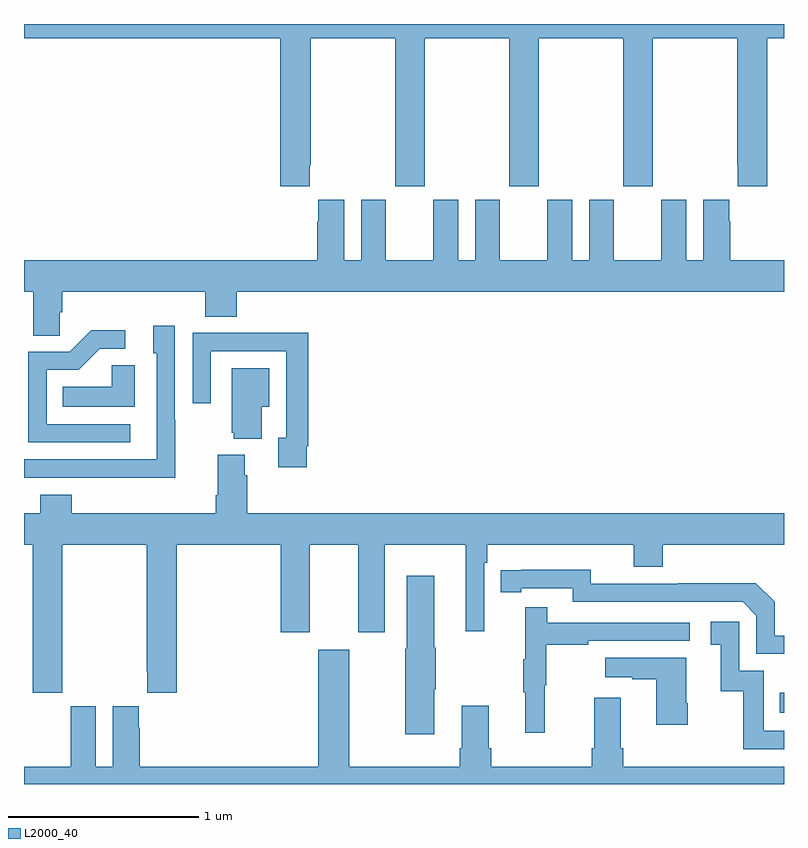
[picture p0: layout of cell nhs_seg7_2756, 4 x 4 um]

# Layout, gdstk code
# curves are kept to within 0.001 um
import gdstk
lib = gdstk.Library(unit=1e-6, precision=1e-09)
def R(c, l, rs):  # rectangles x0, y0, x1, y1
    for r in rs: c.add(gdstk.rectangle(r[:2], r[2:], *l))
def P(c, l, *ps):  # polygons
    for p in ps: c.add(gdstk.Polygon(p, *l))
L2000_40 = (2000, 40)

nhs_seg7_2756 = lib.new_cell('nhs_seg7_2756')
R(nhs_seg7_2756, L2000_40, [(292.978,1022.376,293,1022.481)])
P(nhs_seg7_2756, L2000_40, [(290.503,1025.257),(290.508,1025.257),(290.508,1025.924),(290.953,1025.924),(290.953,1025.145),(291.108,1025.145),(291.108,1025.924),(291.553,1025.924),(291.553,1025.145),(291.708,1025.145),(291.708,1025.924),(292.153,1025.924),(292.153,1025.145),(292.308,1025.145),(292.308,1025.924),(292.753,1025.924),(292.753,1025.257),(292.757,1025.257),(292.757,1025.145),(292.913,1025.145),(292.913,1025.924),(293,1025.924),(293,1026),(289,1026),(289,1025.924),(290.348,1025.924),(290.348,1025.145),(290.503,1025.145)],
  [(289.188,1024.483),(289.202,1024.483),(289.202,1024.592),(289.955,1024.592),(289.955,1024.459),(290.12,1024.459),(290.12,1024.592),(293,1024.592),(293,1024.756),(292.718,1024.756),(292.718,1024.961),(292.711,1024.961),(292.711,1025.074),(292.574,1025.074),(292.574,1024.756),(292.486,1024.756),(292.486,1025.074),(292.355,1025.074),(292.355,1024.756),(292.105,1024.756),(292.105,1025.074),(291.974,1025.074),(291.974,1024.756),(291.886,1024.756),(291.886,1025.074),(291.755,1025.074),(291.755,1024.756),(291.505,1024.756),(291.505,1025.074),(291.374,1025.074),(291.374,1024.756),(291.286,1024.756),(291.286,1025.074),(291.155,1025.074),(291.155,1024.756),(290.905,1024.756),(290.905,1025.074),(290.774,1025.074),(290.774,1024.756),(290.686,1024.756),(290.686,1025.074),(290.549,1025.074),(290.549,1024.961),(290.543,1024.961),(290.543,1024.756),(289,1024.756),(289,1024.592),(289.049,1024.592),(289.049,1024.36),(289.188,1024.36)],
  [(289.797,1023.917),(289.794,1023.917),(289.794,1024.411),(289.679,1024.411),(289.679,1024.266),(289.698,1024.266),(289.698,1023.708),(289,1023.708),(289,1023.612),(289.333,1023.612),(289.333,1023.611),(289.797,1023.611)],
  [(289.558,1023.894),(289.119,1023.894),(289.119,1024.179),(289.288,1024.179),(289.399,1024.29),(289.534,1024.29),(289.534,1024.388),(289.355,1024.388),(289.242,1024.275),(289.023,1024.275),(289.023,1023.798),(289.558,1023.798)],
  [(290.488,1023.778),(290.495,1023.778),(290.495,1024.376),(290.203,1024.376),(290.203,1024.374),(289.887,1024.374),(289.887,1024.005),(289.983,1024.005),(289.983,1024.278),(290.379,1024.278),(290.379,1023.822),(290.339,1023.822),(290.339,1023.666),(290.488,1023.666)],
  [(289.582,1024.205),(289.461,1024.205),(289.461,1024.09),(289.204,1024.09),(289.204,1023.986),(289.582,1023.986)],
  [(290.251,1023.986),(290.29,1023.986),(290.29,1024.189),(290.093,1024.189),(290.093,1023.849),(290.105,1023.849),(290.105,1023.818),(290.251,1023.818)],
  [(289.2,1023.26),(289.645,1023.26),(289.645,1022.593),(289.649,1022.593),(289.649,1022.481),(289.805,1022.481),(289.805,1023.26),(290.351,1023.26),(290.351,1022.799),(290.503,1022.799),(290.503,1023.26),(290.759,1023.26),(290.759,1022.799),(290.899,1022.799),(290.899,1023.26),(291.326,1023.26),(291.326,1022.805),(291.423,1022.805),(291.423,1023.164),(291.437,1023.164),(291.437,1023.26),(292.208,1023.26),(292.208,1023.143),(292.361,1023.143),(292.361,1023.26),(293,1023.26),(293,1023.424),(290.174,1023.424),(290.174,1023.626),(290.161,1023.626),(290.161,1023.733),(290.021,1023.733),(290.021,1023.52),(290.009,1023.52),(290.009,1023.424),(289.25,1023.424),(289.25,1023.523),(289.085,1023.523),(289.085,1023.424),(289,1023.424),(289,1023.26),(289.045,1023.26),(289.045,1022.481),(289.2,1022.481)],
  [(293,1022.781),(292.95,1022.781),(292.95,1022.958),(292.852,1023.056),(292.444,1023.056),(292.444,1023.054),(291.984,1023.054),(291.984,1023.127),(291.508,1023.126),(291.508,1023.01),(291.616,1023.01),(291.616,1023.03),(291.888,1023.03),(291.888,1022.958),(292.782,1022.958),(292.854,1022.886),(292.854,1022.685),(293,1022.685)],
  [(291.16,1022.5),(291.168,1022.5),(291.168,1022.717),(291.16,1022.717),(291.16,1023.097),(291.014,1023.097),(291.014,1022.711),(291.007,1022.711),(291.007,1022.262),(291.16,1022.262)],
  [(291.74,1022.52),(291.748,1022.52),(291.748,1022.734),(291.971,1022.734),(291.971,1022.754),(292.504,1022.754),(292.504,1022.85),(291.755,1022.85),(291.755,1022.929),(291.638,1022.929),(291.638,1022.657),(291.627,1022.657),(291.627,1022.483),(291.638,1022.483),(291.638,1022.271),(291.74,1022.271)],
  [(293,1022.28),(292.893,1022.28),(292.893,1022.595),(292.764,1022.595),(292.764,1022.854),(292.614,1022.854),(292.614,1022.733),(292.667,1022.733),(292.667,1022.487),(292.785,1022.487),(292.785,1022.184),(293,1022.184)],
  [(292.494,1022.425),(292.486,1022.425),(292.486,1022.665),(292.059,1022.665),(292.059,1022.561),(292.202,1022.561),(292.202,1022.551),(292.328,1022.551),(292.328,1022.313),(292.494,1022.313)],
  [(292.001,1022.455),(292.001,1022.188),(291.989,1022.188),(291.989,1022.092),(291.458,1022.092),(291.458,1022.188),(291.445,1022.188),(291.445,1022.413),(291.305,1022.413),(291.305,1022.188),(291.293,1022.188),(291.293,1022.092),(290.713,1022.092),(290.713,1022.707),(290.549,1022.707),(290.549,1022.092),(289.61,1022.092),(289.61,1022.297),(289.603,1022.297),(289.603,1022.41),(289.466,1022.41),(289.466,1022.092),(289.378,1022.092),(289.378,1022.41),(289.247,1022.41),(289.247,1022.092),(289,1022.092),(289,1022),(293,1022),(293,1022.092),(292.154,1022.092),(292.154,1022.188),(292.141,1022.188),(292.141,1022.455)])

lib.write_gds('nhs_seg7_2756.gds')
